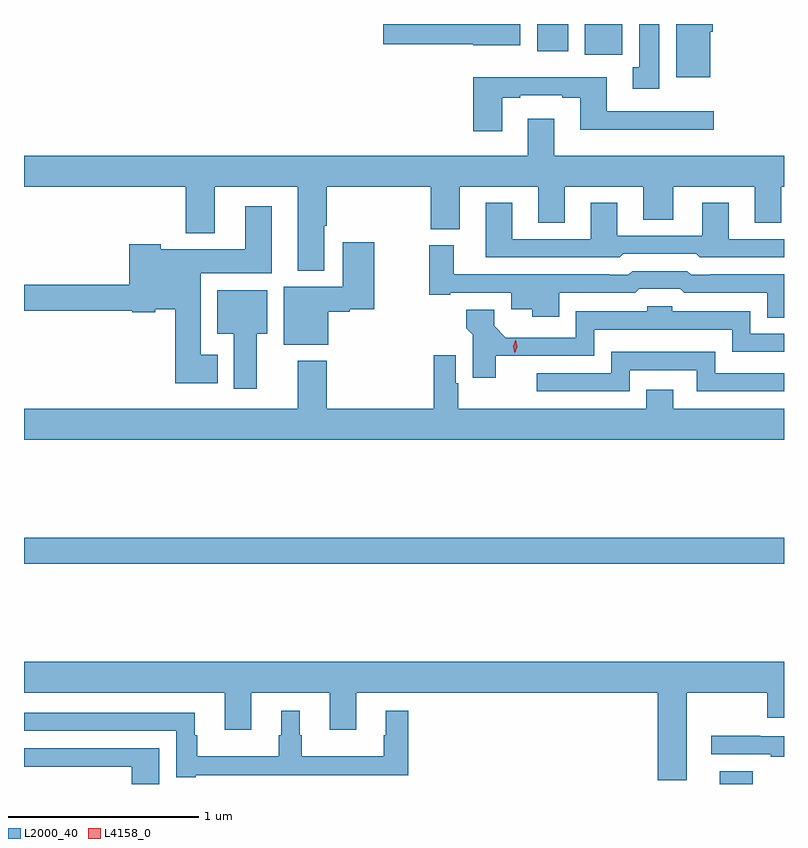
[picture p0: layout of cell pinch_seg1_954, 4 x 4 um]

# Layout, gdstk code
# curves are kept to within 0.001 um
import gdstk
lib = gdstk.Library(unit=1e-6, precision=1e-09)
def R(c, l, rs):  # rectangles x0, y0, x1, y1
    for r in rs: c.add(gdstk.rectangle(r[:2], r[2:], *l))
def P(c, l, *ps):  # polygons
    for p in ps: c.add(gdstk.Polygon(p, *l))
L2000_40 = (2000, 40)
L4158_0 = (4158, 0)

pinch_seg1_954 = lib.new_cell('pinch_seg1_954')
R(pinch_seg1_954, L2000_40, [(302.306,569.901,302.479,569.968), (298.643,571.06,302.643,571.196), (301.595,573.74,301.792,573.901), (301.343,573.758,301.507,573.901)])
P(pinch_seg1_954, L2000_40, [(301.987,573.901),(301.88,573.901),(301.88,573.674),(301.847,573.674),(301.847,573.561),(301.987,573.561)],
  [(302.254,573.86),(302.267,573.86),(302.267,573.901),(302.075,573.901),(302.075,573.62),(302.254,573.62)],
  [(301.255,573.901),(300.534,573.901),(300.534,573.794),(301.008,573.794),(301.008,573.788),(301.255,573.788)],
  [(301.159,573.513),(301.255,573.513),(301.255,573.525),(301.475,573.525),(301.475,573.513),(301.571,573.513),(301.571,573.344),(302.272,573.344),(302.272,573.441),(301.711,573.441),(301.711,573.622),(301.007,573.622),(301.007,573.336),(301.159,573.336)],
  [(300.223,572.839),(300.236,572.839),(300.236,573.044),(300.785,573.044),(300.785,572.821),(300.937,572.821),(300.937,573.044),(301.349,573.044),(301.349,572.854),(301.489,572.854),(301.489,573.044),(301.901,573.044),(301.901,572.872),(302.059,572.872),(302.059,573.044),(302.489,573.044),(302.489,572.854),(302.629,572.854),(302.629,573.044),(302.643,573.044),(302.643,573.208),(301.435,573.208),(301.435,573.403),(301.295,573.403),(301.295,573.208),(298.643,573.208),(298.643,573.044),(299.495,573.044),(299.495,572.801),(299.647,572.801),(299.647,573.044),(300.083,573.044),(300.083,572.603),(300.223,572.603)],
  [(301.797,572.691),(302.181,572.691),(302.199,572.673),(302.643,572.673),(302.643,572.769),(302.353,572.769),(302.353,572.959),(302.213,572.959),(302.213,572.787),(301.765,572.787),(301.765,572.959),(301.625,572.959),(301.625,572.769),(301.213,572.769),(301.213,572.959),(301.073,572.959),(301.073,572.673),(301.779,572.673)],
  [(299.662,572.161),(299.572,572.161),(299.572,572.588),(299.947,572.588),(299.947,572.941),(299.807,572.941),(299.807,572.716),(299.364,572.716),(299.364,572.743),(299.198,572.743),(299.198,572.528),(298.643,572.528),(298.643,572.392),(299.214,572.392),(299.214,572.384),(299.334,572.384),(299.334,572.399),(299.438,572.399),(299.438,572.009),(299.662,572.009)],
  [(300.244,572.387),(300.357,572.387),(300.357,572.399),(300.486,572.399),(300.486,572.752),(300.32,572.752),(300.32,572.518),(300.011,572.518),(300.011,572.213),(300.244,572.213)],
  [(302.643,572.583),(302.254,572.583),(302.254,572.58),(302.154,572.58),(302.133,572.601),(301.845,572.601),(301.824,572.58),(301.724,572.58),(301.724,572.583),(300.904,572.583),(300.904,572.736),(300.775,572.736),(300.775,572.475),(300.886,572.475),(300.886,572.487),(301.208,572.487),(301.208,572.399),(301.319,572.399),(301.319,572.36),(301.459,572.36),(301.459,572.487),(301.86,572.487),(301.881,572.508),(302.097,572.508),(302.118,572.487),(302.555,572.487),(302.555,572.356),(302.643,572.356)],
  [(299.869,572.27),(299.923,572.27),(299.923,572.5),(299.66,572.5),(299.66,572.27),(299.747,572.27),(299.747,571.98),(299.869,571.98)],
  [(301.126,572.154),(301.644,572.154),(301.644,572.292),(302.37,572.292),(302.37,572.175),(302.643,572.175),(302.643,572.271),(302.466,572.271),(302.466,572.388),(302.055,572.388),(302.055,572.415),(301.923,572.415),(301.923,572.388),(301.548,572.388),(301.548,572.25),(301.178,572.251),(301.117,572.312),(301.117,572.398),(300.97,572.398),(300.97,572.3),(301.004,572.266),(301.004,572.04),(301.126,572.04)],
  [(301.83,572.079),(302.184,572.079),(302.184,571.968),(302.643,571.968),(302.643,572.064),(302.28,572.064),(302.28,572.175),(301.734,572.175),(301.734,572.064),(301.341,572.064),(301.341,571.968),(301.83,571.968)],
  [(302.643,571.876),(302.059,571.876),(302.059,571.975),(301.919,571.975),(301.919,571.876),(300.928,571.876),(300.928,572.009),(300.915,572.009),(300.915,572.158),(300.799,572.158),(300.799,571.876),(300.236,571.876),(300.236,572.128),(300.083,572.128),(300.083,571.876),(298.643,571.876),(298.643,571.712),(302.643,571.712)],
  [(302.131,570.38),(302.554,570.38),(302.554,570.249),(302.643,570.249),(302.643,570.544),(298.643,570.544),(298.643,570.38),(299.699,570.38),(299.699,570.186),(299.839,570.186),(299.839,570.38),(300.251,570.38),(300.251,570.186),(300.391,570.186),(300.391,570.38),(301.979,570.38),(301.979,569.922),(302.131,569.922)],
  [(299.548,569.948),(300.665,569.948),(300.665,570.286),(300.548,570.286),(300.548,570.158),(300.537,570.158),(300.537,570.046),(300.106,570.046),(300.106,570.158),(300.094,570.158),(300.094,570.286),(299.996,570.286),(299.996,570.158),(299.985,570.158),(299.985,570.046),(299.554,570.046),(299.554,570.158),(299.542,570.158),(299.542,570.276),(298.643,570.276),(298.643,570.18),(299.445,570.18),(299.445,569.937),(299.548,569.937)],
  [(302.643,570.153),(302.517,570.153),(302.517,570.156),(302.259,570.156),(302.259,570.057),(302.573,570.057),(302.573,570.045),(302.643,570.045)],
  [(299.356,570.09),(298.643,570.09),(298.643,569.993),(299.21,569.993),(299.21,569.901),(299.356,569.901)])
P(pinch_seg1_954, L4158_0, [(301.225,572.168),(301.219,572.204),(301.231,572.239),(301.232,572.239),(301.232,572.239),(301.239,572.203),(301.226,572.168),(301.226,572.168)])

lib.write_gds('pinch_seg1_954.gds')
